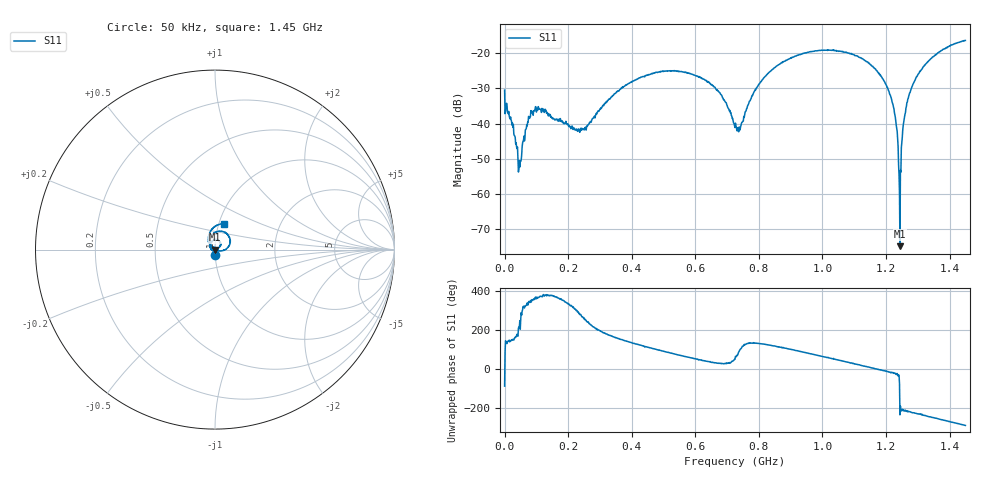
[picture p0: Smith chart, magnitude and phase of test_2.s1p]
! Created with skrf 1.11.0 (http://scikit-rf.org).
# Hz S RI R 50.0
!freq ReS11 ImS11
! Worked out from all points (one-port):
!   1001 points, 50 kHz to 1.45 GHz, reference 50 ohm
!   lowest |S11| = -74.8 dB at 1.244 GHz (marker M1), VSWR 1.00, Z = 50 + j0.0148 ohm
!   |S11| at or under -10 dB: start of sweep to end of sweep
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50000  0.00126 -0.0299
4.64484e7  -0.00245 -0.00172
7.25475e7  0.00893 -0.00557
8.99469e7  0.0131 -0.0018
1.812938e8  0.0108 -0.00185
2.494414e8  -0.00119 -0.00823
3.625375e8  -0.0269 0.0146
5.437812e8  0.0171 0.0535
6.554274e8  0.0288 0.0188
6.902262e8  0.0197 0.00971
7.25025e8  0.00576 0.00667
7.438744e8  -0.00214 0.0092
7.81573e8  -0.0177 0.0192
8.163718e8  -0.0268 0.0361
9.062688e8  -0.0132 0.0871
1.087512e9  0.0851 0.0512
1.15276e9  0.0683 0.00758
1.203508e9  0.0319 -0.00715
1.228158e9  0.0122 -0.00507
1.233957e9  0.00762 -0.00395
1.238307e9  0.00385 -0.00273
1.244107e9  -0.000107 0.000148
1.249907e9  -0.00453 0.00303
1.255707e9  -0.00875 0.00568
1.268756e9  -0.0185 0.0126
1.293405e9  -0.0307 0.0311
1.332554e9  -0.0359 0.0666
1.45e9  0.0474 0.1443
